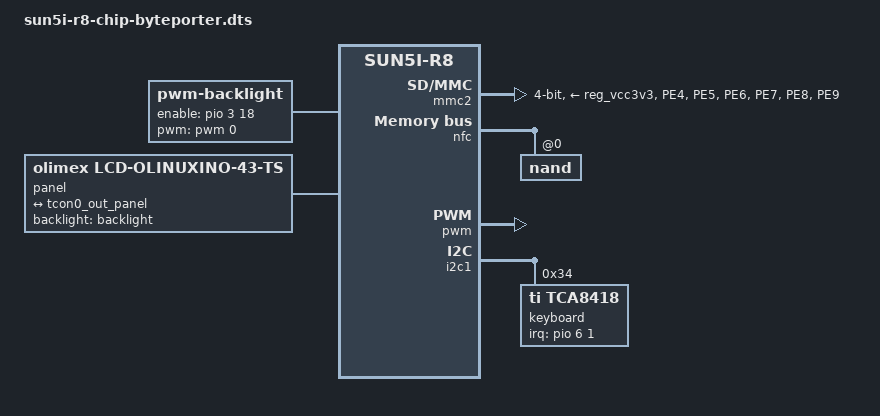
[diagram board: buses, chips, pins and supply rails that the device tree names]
/*
This file sets up SD Controller 2 and the NAND controller for use in U-Boot.
It used to be able to be built just by specifying it with
CONFIG_DEFAULT_DEVICE_TREE or passing it to make with the variable
DEVICE_TREE. However, since comimt a3444bd reverted the code that enabled
it to be built by make, I'm unsure what the recommended workflow is. As a
workaround, I pass it to make with the DEVICE_TREE variable and also pass
the variable dtb-y=sun5i-r8-chip-byteporter.dtb, which effectively declares
it as a target in arch/arm/dts/Makefile without actually modifying the
Makefile. I'll need to do some research (probably ask in IRC or the mailing
list) what the actual intended workflow is for this situation now.
*/

#include "sun5i-r8-chip.dts"

&mmc2 {
  pinctrl-names = "default";
  pinctrl-0 = <&mmc2_pins_b>;
  vmmc-supply = <&reg_vcc3v3>;
  vqmmc-supply = <&reg_vcc3v3>;
  bus-width = <4>;
  broken-cd;
  status = "okay";
};

&nfc {
  status = "okay";
  pinctrl-names = "default";
  pinctrl-0 = <&nand_pins_a>, <&nand_cs0_pins_a>, <&nand_rb0_pins_a>;
  
  nand@0 {
    reg = <0x0>;
    allwinner,rb = <0x0>;
    nand-ecc-mode = "hw";

    #address-cells = <2>;
    #size-cells = <2>;

    spl@0 {
      label = "SPL";
      reg = <0x0>, <0x0>, <0x0>, <0x00400000>;
    };
    spl-backup@0 {
      label = "SPL.backup";
      reg = <0x0>, <0x00400000>, <0x0>, <0x00400000>;
    };
    u-boot@0 {
      label = "U-Boot";
      reg = <0x0>, <0x00800000>, <0x0>, <0x00400000>;
    };
    u-boot-backup@0 {
      label ="U-Boot.backup";
      reg = <0x0>, <0x00c00000>, <0x0>, <0x00400000>;
    };
  };
};

&pio {
  mmc2_pins_b: mmc2@0 {
    pins = "PE4", "PE5", "PE6", "PE7", "PE8", "PE9";
    function = "mmc2";
    drive-strength = <30>;
    bias-pull-up;
  };
};

// Overlay from nextthingco/dip-pocket-common.dtsi (https://github.com/ntc-chip-revived/CHIP-dt-overlays/blob/master/nextthingco/dip-pocket-common.dtsi)
// These lines are necessary for the PocketCHIP shell to work properly.

/* Pinctrl changes */
&pio {
  chip_bl_en: chip_backlight_enable@0 {
    pins = "PD18";
    function = "gpio_out";
    drive = <SUN4I_PINCTRL_10_MA>;
    pull = <SUN4I_PINCTRL_NO_PULL>;
  };
};

/* Enable the PWM */
&pwm {
  pinctrl-names = "default";
  pinctrl-0 = <&pwm0_pins>;
  status = "okay";
};

/* And enable the backlight running on that PWM */
/ {
  backlight: backlight {
    compatible = "pwm-backlight";
    pwms = <&pwm 0 8000 1>;

    brightness-levels = <0 1 2 4 8 12 16 24 28 32 100>;
    default-brightness-level = <8>;

    pinctrl-names = "default";
    pinctrl-0 = <&chip_bl_en>;
    enable-gpios = <&pio 3 18 GPIO_ACTIVE_HIGH>;
  };
};

/* Enable the I2C1 bus and the keyboard */
&i2c1 {
  #address-cells = <1>;
  #size-cells = <0>;
  pinctrl-names = "default";
  pinctrl-0 = <&i2c1_pins_a>;
  status = "okay";

  keyboard: keyboard@34 {
    compatible = "ti,tca8418";
    reg = <0x34>;
    interrupt-parent = <&pio>;
    interrupts = <6 1 IRQ_TYPE_EDGE_FALLING>;

    keypad,num-rows = <6>;
    keypad,num-columns = <10>;
    keypad,autorepeat;
  };
};

/* Enable the touchscreen */
&rtp {
  touchscreen-inverted-x;
  touchscreen-inverted-y;
  allwinner,ts-attached;
};

/* Enable our panel */
/ {
  panel {
    #address-cells = <1>;
    #size-cells = <0>;
    compatible = "olimex,lcd-olinuxino-43-ts";
    backlight = <&backlight>;

    port@0 {
      reg = <0>;
      #address-cells = <1>;
      #size-cells = <0>;

      panel_input: endpoint@0 {
        reg = <0>;
        remote-endpoint = <&tcon0_out_panel>;
      };
    };
  };
};

/* Link the TCON with the panel */
&tcon0_out {
  #address-cells = <1>;
  #size-cells = <0>;

  tcon0_out_panel: endpoint@0 {
    reg = <0>;
    remote-endpoint = <&panel_input>;
  };
};

&tcon0 {
  pinctrl-names = "default";
  pinctrl-0 = <&lcd_rgb565_pins>;
};

/ {
  leds {
    leds_status: status {};
  };
};

/* PocketCHIP LED definition */
&leds_status {
  linux,default-trigger = "default-on";
};

// nextthingco/dip-pocket-v73.dts (https://github.com/ntc-chip-revived/CHIP-dt-overlays/blob/master/nextthingco/dip-pocket-v73.dts)
// Keyboard map for the PocketCHIP

#include <dt-bindings/input/input.h>

&keyboard {
	linux,keymap = <
			MATRIX_KEY(0, 0, 13)
			MATRIX_KEY(0, 1, KEY_1)
			MATRIX_KEY(0, 2, KEY_2)
			MATRIX_KEY(0, 3, KEY_3)
			MATRIX_KEY(0, 4, KEY_4)
			MATRIX_KEY(0, 5, KEY_5)
			MATRIX_KEY(0, 6, KEY_6)
			MATRIX_KEY(0, 7, KEY_7)
			MATRIX_KEY(0, 8, KEY_8)
			MATRIX_KEY(0, 9, KEY_9)

			MATRIX_KEY(1, 0, KEY_Q)
			MATRIX_KEY(1, 1, KEY_W)
			MATRIX_KEY(1, 2, KEY_E)
			MATRIX_KEY(1, 3, KEY_R)
			MATRIX_KEY(1, 4, KEY_T)
			MATRIX_KEY(1, 5, KEY_Y)
			MATRIX_KEY(1, 6, KEY_U)
			MATRIX_KEY(1, 7, KEY_I)
			MATRIX_KEY(1, 8, KEY_O)
			MATRIX_KEY(1, 9, KEY_P)

			MATRIX_KEY(2, 0, KEY_A)
			MATRIX_KEY(2, 1, KEY_S)
			MATRIX_KEY(2, 2, KEY_D)
			MATRIX_KEY(2, 3, KEY_F)
			MATRIX_KEY(2, 4, KEY_G)
			MATRIX_KEY(2, 5, KEY_H)
			MATRIX_KEY(2, 6, KEY_J)
			MATRIX_KEY(2, 7, KEY_K)
			MATRIX_KEY(2, 8, KEY_L)
			MATRIX_KEY(2, 9, KEY_ENTER)

			MATRIX_KEY(3, 0, KEY_TAB)
			MATRIX_KEY(3, 1, KEY_Z)
			MATRIX_KEY(3, 2, KEY_X)
			MATRIX_KEY(3, 3, KEY_C)
			MATRIX_KEY(3, 4, KEY_V)
			MATRIX_KEY(3, 5, KEY_B)
			MATRIX_KEY(3, 6, KEY_N)
			MATRIX_KEY(3, 7, KEY_M)
			MATRIX_KEY(3, 8, KEY_UP)
			MATRIX_KEY(3, 9, KEY_DOWN)

			MATRIX_KEY(4, 0, KEY_ESC)
			MATRIX_KEY(4, 1, KEY_RIGHTALT)
			MATRIX_KEY(4, 2, KEY_LEFTALT)
			MATRIX_KEY(4, 3, KEY_SPACE)
			MATRIX_KEY(4, 4, KEY_RIGHTCTRL)
			MATRIX_KEY(4, 5, KEY_SLASH)
			MATRIX_KEY(4, 6, KEY_RIGHTSHIFT)
			MATRIX_KEY(4, 8, KEY_LEFT)
			MATRIX_KEY(4, 9, KEY_RIGHT)

			MATRIX_KEY(5, 0, KEY_LEFTSHIFT)
			MATRIX_KEY(5, 1, KEY_0)
			MATRIX_KEY(5, 2, KEY_KPMINUS )
			MATRIX_KEY(5, 3, KEY_BACKSPACE)
			MATRIX_KEY(5, 4, KEY_DOT)
			>;
};
